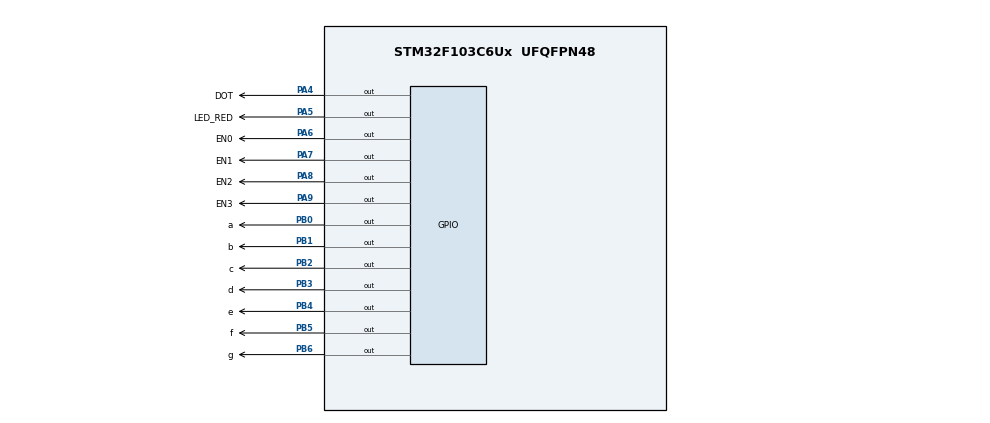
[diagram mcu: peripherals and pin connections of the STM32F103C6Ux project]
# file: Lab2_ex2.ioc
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Mcu.Family=STM32F1
Mcu.Name=STM32F103C6Ux
Mcu.Package=UFQFPN48
NVIC.PriorityGroup=NVIC_PRIORITYGROUP_4
NVIC.TIM2_IRQn=true\:0\:0\:false\:false\:true\:true\:true
PA4.GPIO_Label=DOT
PA4.Signal=GPIO_Output
PA5.GPIO_Label=LED_RED
PA5.Signal=GPIO_Output
PA6.GPIO_Label=EN0
PA6.Signal=GPIO_Output
PA7.GPIO_Label=EN1
PA7.Signal=GPIO_Output
PA8.GPIO_Label=EN2
PA8.Signal=GPIO_Output
PA9.GPIO_Label=EN3
PA9.Signal=GPIO_Output
PB0.GPIO_Label=a
PB0.Signal=GPIO_Output
PB1.GPIO_Label=b
PB1.Signal=GPIO_Output
PB2.GPIO_Label=c
PB2.Signal=GPIO_Output
PB3.GPIO_Label=d
PB3.Signal=GPIO_Output
PB4.GPIO_Label=e
PB4.Signal=GPIO_Output
PB5.GPIO_Label=f
PB5.Signal=GPIO_Output
PB6.GPIO_Label=g
PB6.Signal=GPIO_Output
ProjectManager.HeapSize=0x200
ProjectManager.StackSize=0x400
ProjectManager.TargetToolchain=STM32CubeIDE
RCC.APB1Freq_Value=8000000
RCC.APB2Freq_Value=8000000
TIM2.Period=9
TIM2.Prescaler=7999
VP_SYS_VS_ND.Mode=No_Debug
VP_TIM2_VS_ClockSourceINT.Mode=Internal
board=custom

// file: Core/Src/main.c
/* USER CODE BEGIN Header */
/**
  ******************************************************************************
  * @file           : main.c
  * @brief          : Main program body
  ******************************************************************************
  * @attention
  *
  * <h2><center>&copy; Copyright (c) 2024 STMicroelectronics.
  * All rights reserved.</center></h2>
  *
  * This software component is licensed by ST under BSD 3-Clause license,
  * the "License"; You may not use this file except in compliance with the
  * License. You may obtain a copy of the License at:
  *                        opensource.org/licenses/BSD-3-Clause
  *
  ******************************************************************************
  */
/* USER CODE END Header */
#include "main.h"

TIM_HandleTypeDef htim2;

void SystemClock_Config(void);
static void MX_GPIO_Init(void);
static void MX_TIM2_Init(void);

/* USER CODE BEGIN 0 */
void display7SEG(int num)
{

    if (num == 1)
    {
        HAL_GPIO_WritePin(a_GPIO_Port, a_Pin, GPIO_PIN_SET);
        HAL_GPIO_WritePin(b_GPIO_Port, b_Pin, GPIO_PIN_RESET);
        HAL_GPIO_WritePin(c_GPIO_Port, c_Pin, GPIO_PIN_RESET);
        HAL_GPIO_WritePin(d_GPIO_Port, d_Pin, GPIO_PIN_SET);
        HAL_GPIO_WritePin(e_GPIO_Port, e_Pin, GPIO_PIN_SET);
        HAL_GPIO_WritePin(f_GPIO_Port, f_Pin, GPIO_PIN_SET);
        HAL_GPIO_WritePin(g_GPIO_Port, g_Pin, GPIO_PIN_SET);
    }

    else if (num == 2)
    {
        HAL_GPIO_WritePin(a_GPIO_Port, a_Pin, GPIO_PIN_RESET);
        HAL_GPIO_WritePin(b_GPIO_Port, b_Pin, GPIO_PIN_RESET);
        HAL_GPIO_WritePin(c_GPIO_Port, c_Pin, GPIO_PIN_SET);
        HAL_GPIO_WritePin(d_GPIO_Port, d_Pin, GPIO_PIN_RESET);
        HAL_GPIO_WritePin(e_GPIO_Port, e_Pin, GPIO_PIN_RESET);
        HAL_GPIO_WritePin(f_GPIO_Port, f_Pin, GPIO_PIN_SET);
        HAL_GPIO_WritePin(g_GPIO_Port, g_Pin, GPIO_PIN_RESET);
    }

    else if (num == 3)
    {
        HAL_GPIO_WritePin(a_GPIO_Port, a_Pin, GPIO_PIN_RESET);
        HAL_GPIO_WritePin(b_GPIO_Port, b_Pin, GPIO_PIN_RESET);
        HAL_GPIO_WritePin(c_GPIO_Port, c_Pin, GPIO_PIN_RESET);
        HAL_GPIO_WritePin(d_GPIO_Port, d_Pin, GPIO_PIN_RESET);
        HAL_GPIO_WritePin(e_GPIO_Port, e_Pin, GPIO_PIN_SET);
        HAL_GPIO_WritePin(f_GPIO_Port, f_Pin, GPIO_PIN_SET);
        HAL_GPIO_WritePin(g_GPIO_Port, g_Pin, GPIO_PIN_RESET);
    }

    else if (num == 4)
    {
        HAL_GPIO_WritePin(a_GPIO_Port, a_Pin, GPIO_PIN_SET);
        HAL_GPIO_WritePin(b_GPIO_Port, b_Pin, GPIO_PIN_RESET);
        HAL_GPIO_WritePin(c_GPIO_Port, c_Pin, GPIO_PIN_RESET);
        HAL_GPIO_WritePin(d_GPIO_Port, d_Pin, GPIO_PIN_SET);
        HAL_GPIO_WritePin(e_GPIO_Port, e_Pin, GPIO_PIN_SET);
        HAL_GPIO_WritePin(f_GPIO_Port, f_Pin, GPIO_PIN_RESET);
        HAL_GPIO_WritePin(g_GPIO_Port, g_Pin, GPIO_PIN_RESET);
    }

    else if (num == 5)
    {
        HAL_GPIO_WritePin(a_GPIO_Port, a_Pin, GPIO_PIN_RESET);
        HAL_GPIO_WritePin(b_GPIO_Port, b_Pin, GPIO_PIN_SET);
        HAL_GPIO_WritePin(c_GPIO_Port, c_Pin, GPIO_PIN_RESET);
        HAL_GPIO_WritePin(d_GPIO_Port, d_Pin, GPIO_PIN_RESET);
        HAL_GPIO_WritePin(e_GPIO_Port, e_Pin, GPIO_PIN_SET);
        HAL_GPIO_WritePin(f_GPIO_Port, f_Pin, GPIO_PIN_RESET);
        HAL_GPIO_WritePin(g_GPIO_Port, g_Pin, GPIO_PIN_RESET);
    }

    else if (num == 6)
    {
        HAL_GPIO_WritePin(a_GPIO_Port, a_Pin, GPIO_PIN_RESET);
        HAL_GPIO_WritePin(b_GPIO_Port, b_Pin, GPIO_PIN_SET);
        HAL_GPIO_WritePin(c_GPIO_Port, c_Pin, GPIO_PIN_RESET);
        HAL_GPIO_WritePin(d_GPIO_Port, d_Pin, GPIO_PIN_RESET);
        HAL_GPIO_WritePin(e_GPIO_Port, e_Pin, GPIO_PIN_RESET);
        HAL_GPIO_WritePin(f_GPIO_Port, f_Pin, GPIO_PIN_RESET);
        HAL_GPIO_WritePin(g_GPIO_Port, g_Pin, GPIO_PIN_RESET);
    }

    else if (num == 7)
    {
        HAL_GPIO_WritePin(a_GPIO_Port, a_Pin, GPIO_PIN_RESET);
        HAL_GPIO_WritePin(b_GPIO_Port, b_Pin, GPIO_PIN_RESET);
        HAL_GPIO_WritePin(c_GPIO_Port, c_Pin, GPIO_PIN_RESET);
        HAL_GPIO_WritePin(d_GPIO_Port, d_Pin, GPIO_PIN_SET);
        HAL_GPIO_WritePin(e_GPIO_Port, e_Pin, GPIO_PIN_SET);
        HAL_GPIO_WritePin(f_GPIO_Port, f_Pin, GPIO_PIN_SET);
        HAL_GPIO_WritePin(g_GPIO_Port, g_Pin, GPIO_PIN_SET);
    }

    else if (num == 8)
    {
        HAL_GPIO_WritePin(a_GPIO_Port, a_Pin, GPIO_PIN_RESET);
        HAL_GPIO_WritePin(b_GPIO_Port, b_Pin, GPIO_PIN_RESET);
        HAL_GPIO_WritePin(c_GPIO_Port, c_Pin, GPIO_PIN_RESET);
        HAL_GPIO_WritePin(d_GPIO_Port, d_Pin, GPIO_PIN_RESET);
        HAL_GPIO_WritePin(e_GPIO_Port, e_Pin, GPIO_PIN_RESET);
        HAL_GPIO_WritePin(f_GPIO_Port, f_Pin, GPIO_PIN_RESET);
        HAL_GPIO_WritePin(g_GPIO_Port, g_Pin, GPIO_PIN_RESET);
    }

    else if (num == 9)
    {
        HAL_GPIO_WritePin(a_GPIO_Port, a_Pin, GPIO_PIN_RESET);
        HAL_GPIO_WritePin(b_GPIO_Port, b_Pin, GPIO_PIN_RESET);
        HAL_GPIO_WritePin(c_GPIO_Port, c_Pin, GPIO_PIN_RESET);
        HAL_GPIO_WritePin(d_GPIO_Port, d_Pin, GPIO_PIN_RESET);
        HAL_GPIO_WritePin(e_GPIO_Port, e_Pin, GPIO_PIN_SET);
        HAL_GPIO_WritePin(f_GPIO_Port, f_Pin, GPIO_PIN_RESET);
        HAL_GPIO_WritePin(g_GPIO_Port, g_Pin, GPIO_PIN_RESET);
    }
    else if (num == 0)
    {
        HAL_GPIO_WritePin(a_GPIO_Port, a_Pin, GPIO_PIN_RESET);
        HAL_GPIO_WritePin(b_GPIO_Port, b_Pin, GPIO_PIN_RESET);
        HAL_GPIO_WritePin(c_GPIO_Port, c_Pin, GPIO_PIN_RESET);
        HAL_GPIO_WritePin(d_GPIO_Port, d_Pin, GPIO_PIN_RESET);
        HAL_GPIO_WritePin(e_GPIO_Port, e_Pin, GPIO_PIN_RESET);
        HAL_GPIO_WritePin(f_GPIO_Port, f_Pin, GPIO_PIN_RESET);
        HAL_GPIO_WritePin(g_GPIO_Port, g_Pin, GPIO_PIN_SET);
    }
}
/* USER CODE END 0 */
// Định nghĩa số lượng LED 7 đoạn
const int MAX_LED = 4;

// Khai báo biến chỉ số LED hiện tại
int index_led = 0;

// Mảng chứa các giá trị cần hiển thị trên 4 LED 7 đoạn
int led_buffer[4] = {1, 2, 3, 4};

// Hàm điều khiển LED 7 đoạn
void update7SEG(int index) {

    switch (index) {
        case 0:
            // Hiển thị số đầu tiên trên LED 7 đoạn đầu tiên

            HAL_GPIO_WritePin(GPIOA, GPIO_PIN_6, GPIO_PIN_RESET); // Bật LED đầu tiên (EN0)
            HAL_GPIO_WritePin(GPIOA, GPIO_PIN_7, GPIO_PIN_SET); // Tắt LED thứ hai (EN1)
            HAL_GPIO_WritePin(GPIOA, GPIO_PIN_8, GPIO_PIN_SET); // Tắt LED thứ ba (EN2)
            HAL_GPIO_WritePin(GPIOA, GPIO_PIN_9, GPIO_PIN_SET); // Tắt LED thứ tư (EN3)
            display7SEG(1);

            break;
        case 1:
            // Hiển thị số thứ hai trên LED 7 đoạn thứ hai
            HAL_GPIO_WritePin(GPIOA, GPIO_PIN_6, GPIO_PIN_SET); // Tắt LED đầu tiên (EN0)
            HAL_GPIO_WritePin(GPIOA, GPIO_PIN_7, GPIO_PIN_RESET); // Tắt LED thứ hai (EN1)
            HAL_GPIO_WritePin(GPIOA, GPIO_PIN_8, GPIO_PIN_SET); // Tắt LED thứ ba (EN2)
            HAL_GPIO_WritePin(GPIOA, GPIO_PIN_9, GPIO_PIN_SET); // Tắt LED thứ tư (EN3)
            display7SEG(2);
            break;
        case 2:
            // Hiển thị số thứ ba trên LED 7 đoạn thứ ba
            HAL_GPIO_WritePin(GPIOA, GPIO_PIN_6, GPIO_PIN_SET); // Tắt LED đầu tiên (EN0)
            HAL_GPIO_WritePin(GPIOA, GPIO_PIN_7, GPIO_PIN_SET); // Tắt LED thứ hai (EN1)
            HAL_GPIO_WritePin(GPIOA, GPIO_PIN_8, GPIO_PIN_RESET); // Tắt LED thứ ba (EN2)
            HAL_GPIO_WritePin(GPIOA, GPIO_PIN_9, GPIO_PIN_SET); // Tắt LED thứ tư (EN3)
            display7SEG(3);
            break;
        case 3:
            // Hiển thị số thứ tư trên LED 7 đoạn thứ tư
            HAL_GPIO_WritePin(GPIOA, GPIO_PIN_6, GPIO_PIN_SET); // Tắt LED đầu tiên (EN0)
            HAL_GPIO_WritePin(GPIOA, GPIO_PIN_7, GPIO_PIN_SET); // Tắt LED thứ hai (EN1)
            HAL_GPIO_WritePin(GPIOA, GPIO_PIN_8, GPIO_PIN_SET); // Tắt LED thứ ba (EN2)
            HAL_GPIO_WritePin(GPIOA, GPIO_PIN_9, GPIO_PIN_RESET); // Tắt LED thứ tư (EN3)
            display7SEG(0);
            break;
        default:
            break;
    }
}
int main(void)
{

  /* MCU Configuration--------------------------------------------------------*/

  /* Reset of all peripherals, Initializes the Flash interface and the Systick. */
  HAL_Init();

  /* Configure the system clock */
  SystemClock_Config();

  /* Initialize all configured peripherals */
  MX_GPIO_Init();
  MX_TIM2_Init();
  /* USER CODE BEGIN 2 */
  HAL_TIM_Base_Start_IT(&htim2);
  /* USER CODE END 2 */

  /* Infinite loop */
  while (1)
  {

  }
}
/* USER CODE BEGIN 4 */
int count = 0;
 void HAL_TIM_PeriodElapsedCallback(TIM_HandleTypeDef *htim)
 {
     count++; // Tăng biến đếm lên 1

     // Cập nhật LED 7 đoạn hiện tại
     update7SEG(index_led);

     // Chuyển sang LED 7 đoạn tiếp theo sau mỗi 0.5 giây
     if (count % 25  == 0) {  // 50 x 10ms = 500ms = 0.5 giây // 100 x 10ms = 100ms = 1 giây
         index_led++;
         if (index_led >= MAX_LED) {
             index_led = 0;  // Quay lại LED đầu tiên
         }
     }

     // Nhấp nháy hai LED chấm (DOT) mỗi 1 giây
     if (count % 100 == 0) { // 100 x 10ms = 1000ms = 1 giây
         HAL_GPIO_TogglePin(GPIOA, GPIO_PIN_4); // Đổi trạng thái LED chấm
         count = 0; // Đặt lại biến đếm để bắt đầu một chu kỳ mới
     }
 }

 /* USER CODE END 4 */

void SystemClock_Config(void)
{
  RCC_OscInitTypeDef RCC_OscInitStruct = {0};
  RCC_ClkInitTypeDef RCC_ClkInitStruct = {0};

  /** Initializes the RCC Oscillators according to the specified parameters
  * in the RCC_OscInitTypeDef structure.
  */
  RCC_OscInitStruct.OscillatorType = RCC_OSCILLATORTYPE_HSI;
  RCC_OscInitStruct.HSIState = RCC_HSI_ON;
  RCC_OscInitStruct.HSICalibrationValue = RCC_HSICALIBRATION_DEFAULT;
  RCC_OscInitStruct.PLL.PLLState = RCC_PLL_NONE;
  if (HAL_RCC_OscConfig(&RCC_OscInitStruct) != HAL_OK)
  {
    Error_Handler();
  }
  /** Initializes the CPU, AHB and APB buses clocks
  */
  RCC_ClkInitStruct.ClockType = RCC_CLOCKTYPE_HCLK|RCC_CLOCKTYPE_SYSCLK
                              |RCC_CLOCKTYPE_PCLK1|RCC_CLOCKTYPE_PCLK2;
  RCC_ClkInitStruct.SYSCLKSource = RCC_SYSCLKSOURCE_HSI;
  RCC_ClkInitStruct.AHBCLKDivider = RCC_SYSCLK_DIV1;
  RCC_ClkInitStruct.APB1CLKDivider = RCC_HCLK_DIV1;
  RCC_ClkInitStruct.APB2CLKDivider = RCC_HCLK_DIV1;

  if (HAL_RCC_ClockConfig(&RCC_ClkInitStruct, FLASH_LATENCY_0) != HAL_OK)
  {
    Error_Handler();
  }
}

static void MX_TIM2_Init(void)
{

  TIM_ClockConfigTypeDef sClockSourceConfig = {0};
  TIM_MasterConfigTypeDef sMasterConfig = {0};

  htim2.Instance = TIM2;
  htim2.Init.Prescaler = 7999;
  htim2.Init.CounterMode = TIM_COUNTERMODE_UP;
  htim2.Init.Period = 9;
  htim2.Init.ClockDivision = TIM_CLOCKDIVISION_DIV1;
  htim2.Init.AutoReloadPreload = TIM_AUTORELOAD_PRELOAD_DISABLE;
  if (HAL_TIM_Base_Init(&htim2) != HAL_OK)
  {
    Error_Handler();
  }
  sClockSourceConfig.ClockSource = TIM_CLOCKSOURCE_INTERNAL;
  if (HAL_TIM_ConfigClockSource(&htim2, &sClockSourceConfig) != HAL_OK)
  {
    Error_Handler();
  }
  sMasterConfig.MasterOutputTrigger = TIM_TRGO_RESET;
  sMasterConfig.MasterSlaveMode = TIM_MASTERSLAVEMODE_DISABLE;
  if (HAL_TIMEx_MasterConfigSynchronization(&htim2, &sMasterConfig) != HAL_OK)
  {
    Error_Handler();
  }

}

static void MX_GPIO_Init(void)
{
  GPIO_InitTypeDef GPIO_InitStruct = {0};

  /* GPIO Ports Clock Enable */
  __HAL_RCC_GPIOA_CLK_ENABLE();
  __HAL_RCC_GPIOB_CLK_ENABLE();

  /*Configure GPIO pin Output Level */
  HAL_GPIO_WritePin(GPIOA, DOT_Pin|LED_RED_Pin|EN0_Pin|EN1_Pin
                          |EN2_Pin|EN3_Pin, GPIO_PIN_RESET);

  /*Configure GPIO pin Output Level */
  HAL_GPIO_WritePin(GPIOB, a_Pin|b_Pin|c_Pin|d_Pin
                          |e_Pin|f_Pin|g_Pin, GPIO_PIN_RESET);

  /*Configure GPIO pins : DOT_Pin LED_RED_Pin EN0_Pin EN1_Pin
                           EN2_Pin EN3_Pin */
  GPIO_InitStruct.Pin = DOT_Pin|LED_RED_Pin|EN0_Pin|EN1_Pin
                          |EN2_Pin|EN3_Pin;
  GPIO_InitStruct.Mode = GPIO_MODE_OUTPUT_PP;
  GPIO_InitStruct.Pull = GPIO_NOPULL;
  GPIO_InitStruct.Speed = GPIO_SPEED_FREQ_LOW;
  HAL_GPIO_Init(GPIOA, &GPIO_InitStruct);

  /*Configure GPIO pins : a_Pin b_Pin c_Pin d_Pin
                           e_Pin f_Pin g_Pin */
  GPIO_InitStruct.Pin = a_Pin|b_Pin|c_Pin|d_Pin
                          |e_Pin|f_Pin|g_Pin;
  GPIO_InitStruct.Mode = GPIO_MODE_OUTPUT_PP;
  GPIO_InitStruct.Pull = GPIO_NOPULL;
  GPIO_InitStruct.Speed = GPIO_SPEED_FREQ_LOW;
  HAL_GPIO_Init(GPIOB, &GPIO_InitStruct);

}

void Error_Handler(void)
{
  __disable_irq();
  while (1)
  {
  }
}

/************************ (C) COPYRIGHT STMicroelectronics *****END OF FILE****/
